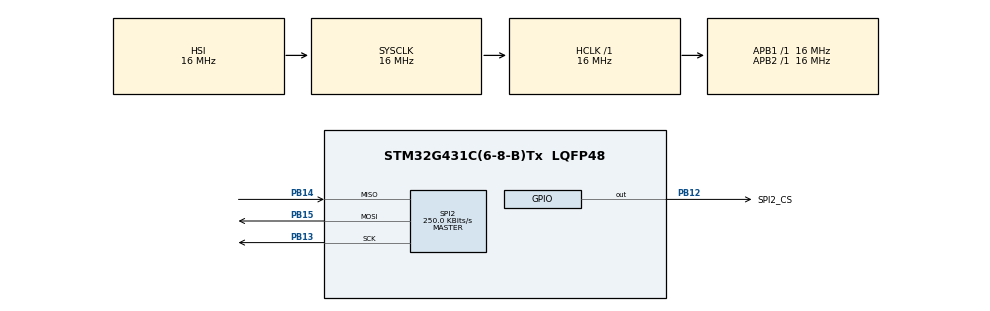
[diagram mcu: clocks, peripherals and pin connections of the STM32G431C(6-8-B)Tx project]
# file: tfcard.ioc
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Mcu.Family=STM32G4
Mcu.Name=STM32G431C(6-8-B)Tx
Mcu.Package=LQFP48
NVIC.PriorityGroup=NVIC_PRIORITYGROUP_4
PA13.Mode=Serial_Wire
PA13.Signal=SYS_JTMS-SWDIO
PA14.Mode=Serial_Wire
PA14.Signal=SYS_JTCK-SWCLK
PB12.GPIO_Label=SPI2_CS
PB12.Signal=GPIO_Output
PB13.Mode=Full_Duplex_Master
PB13.Signal=SPI2_SCK
PB14.Mode=Full_Duplex_Master
PB14.Signal=SPI2_MISO
PB15.Mode=Full_Duplex_Master
PB15.Signal=SPI2_MOSI
PC14-OSC32_IN.Mode=LSE-External-Oscillator
PC14-OSC32_IN.Signal=RCC_OSC32_IN
PC15-OSC32_OUT.Mode=LSE-External-Oscillator
PC15-OSC32_OUT.Signal=RCC_OSC32_OUT
PF0-OSC_IN.Mode=HSE-External-Oscillator
PF0-OSC_IN.Signal=RCC_OSC_IN
PF1-OSC_OUT.Mode=HSE-External-Oscillator
PF1-OSC_OUT.Signal=RCC_OSC_OUT
ProjectManager.HeapSize=0x800
ProjectManager.StackSize=0x1000
ProjectManager.TargetToolchain=Makefile
RCC.ADC12Freq_Value=16000000
RCC.AHBFreq_Value=16000000
RCC.APB1Freq_Value=16000000
RCC.APB1TimFreq_Value=16000000
RCC.APB2Freq_Value=16000000
RCC.APB2TimFreq_Value=16000000
RCC.CortexFreq_Value=16000000
RCC.EXTERNAL_CLOCK_VALUE=12288000
RCC.HCLKFreq_Value=16000000
RCC.HSE_VALUE=8000000
RCC.HSI48_VALUE=48000000
RCC.HSI_VALUE=16000000
RCC.SYSCLKFreq_VALUE=16000000
RCC.USBFreq_Value=64000000
RCC.VCOOutputFreq_Value=128000000
SPI2.BaudRatePrescaler=SPI_BAUDRATEPRESCALER_64
SPI2.CLKPhase=SPI_PHASE_2EDGE
SPI2.CLKPolarity=SPI_POLARITY_HIGH
SPI2.CRCCalculation=SPI_CRCCALCULATION_DISABLE
SPI2.CalculateBaudRate=250.0 KBits/s
SPI2.DataSize=SPI_DATASIZE_8BIT
SPI2.Direction=SPI_DIRECTION_2LINES
SPI2.Mode=SPI_MODE_MASTER
SPI2.VirtualType=VM_MASTER
VP_FATFS_VS_Generic.Mode=User_defined
VP_SYS_VS_DBSignals.Mode=DisableDeadBatterySignals
board=custom

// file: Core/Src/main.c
/* USER CODE BEGIN Header */
/**
 ******************************************************************************
 * @file           : main.c
 * @brief          : Main program body
 ******************************************************************************
 * @attention
 *
 * Copyright (c) 2023 STMicroelectronics.
 * All rights reserved.
 *
 * This software is licensed under terms that can be found in the LICENSE file
 * in the root directory of this software component.
 * If no LICENSE file comes with this software, it is provided AS-IS.
 *
 ******************************************************************************
 */
/* USER CODE END Header */
#include "main.h"
#include "app_fatfs.h"

SPI_HandleTypeDef hspi2;

void SystemClock_Config(void);
static void MX_GPIO_Init(void);
static void MX_SPI2_Init(void);

/* USER CODE BEGIN 0 */
FRESULT fres; // Result after operations
enum
{
  MOUNT_NO_INIT = 0,
  MOUNT_OK = 1,
} stat = MOUNT_NO_INIT;
/* USER CODE END 0 */

int main(void)
{

  /* MCU Configuration--------------------------------------------------------*/

  /* Reset of all peripherals, Initializes the Flash interface and the Systick. */
  HAL_Init();

  /* Configure the system clock */
  SystemClock_Config();

  /* Initialize all configured peripherals */
  MX_GPIO_Init();
  MX_SPI2_Init();
  if (MX_FATFS_Init() != APP_OK)
  {
    Error_Handler();
  }
  /* USER CODE BEGIN 2 */
  FATFS FatFs; // Fatfs handle
  FIL fil;     // File handle

  // Open the file system
  fres = f_mount(&FatFs, "", 1); // 1=mount now
  if (fres != FR_OK)
  {
    if (fres == FR_NO_FILESYSTEM)
    {
      BYTE work[_MAX_SS];
      fres = f_mkfs("", FM_ANY, 0, work, sizeof(work));
      if (fres == FR_OK)
      {
        fres = f_mount(0, "", 0); // unmount the default driver
        fres = f_mount(&FatFs, "", 1);
        if (fres == FR_OK)
        {
          stat = MOUNT_OK;
        }
      }
    }

    while (1)
      ;
  }
}
// else
// {
//   stat = MOUNT_OK;
// }

/* USER CODE END 2 */

/* Infinite loop */

void SystemClock_Config(void)
{
  RCC_OscInitTypeDef RCC_OscInitStruct = {0};
  RCC_ClkInitTypeDef RCC_ClkInitStruct = {0};

  /** Configure the main internal regulator output voltage
   */
  HAL_PWREx_ControlVoltageScaling(PWR_REGULATOR_VOLTAGE_SCALE1);

  /** Initializes the RCC Oscillators according to the specified parameters
   * in the RCC_OscInitTypeDef structure.
   */
  RCC_OscInitStruct.OscillatorType = RCC_OSCILLATORTYPE_HSI;
  RCC_OscInitStruct.HSIState = RCC_HSI_ON;
  RCC_OscInitStruct.HSICalibrationValue = RCC_HSICALIBRATION_DEFAULT;
  RCC_OscInitStruct.PLL.PLLState = RCC_PLL_NONE;
  if (HAL_RCC_OscConfig(&RCC_OscInitStruct) != HAL_OK)
  {
    Error_Handler();
  }

  /** Initializes the CPU, AHB and APB buses clocks
   */
  RCC_ClkInitStruct.ClockType = RCC_CLOCKTYPE_HCLK | RCC_CLOCKTYPE_SYSCLK | RCC_CLOCKTYPE_PCLK1 | RCC_CLOCKTYPE_PCLK2;
  RCC_ClkInitStruct.SYSCLKSource = RCC_SYSCLKSOURCE_HSI;
  RCC_ClkInitStruct.AHBCLKDivider = RCC_SYSCLK_DIV1;
  RCC_ClkInitStruct.APB1CLKDivider = RCC_HCLK_DIV1;
  RCC_ClkInitStruct.APB2CLKDivider = RCC_HCLK_DIV1;

  if (HAL_RCC_ClockConfig(&RCC_ClkInitStruct, FLASH_LATENCY_0) != HAL_OK)
  {
    Error_Handler();
  }
}

static void MX_SPI2_Init(void)
{

  /* SPI2 parameter configuration*/
  hspi2.Instance = SPI2;
  hspi2.Init.Mode = SPI_MODE_MASTER;
  hspi2.Init.Direction = SPI_DIRECTION_2LINES;
  hspi2.Init.DataSize = SPI_DATASIZE_8BIT;
  hspi2.Init.CLKPolarity = SPI_POLARITY_LOW;
  hspi2.Init.CLKPhase = SPI_PHASE_1EDGE;
  hspi2.Init.NSS = SPI_NSS_SOFT;
  hspi2.Init.BaudRatePrescaler = SPI_BAUDRATEPRESCALER_64;
  hspi2.Init.FirstBit = SPI_FIRSTBIT_MSB;
  hspi2.Init.TIMode = SPI_TIMODE_DISABLE;
  hspi2.Init.CRCCalculation = SPI_CRCCALCULATION_DISABLE;
  hspi2.Init.CRCPolynomial = 7;
  hspi2.Init.CRCLength = SPI_CRC_LENGTH_DATASIZE;
  hspi2.Init.NSSPMode = SPI_NSS_PULSE_ENABLE;
  if (HAL_SPI_Init(&hspi2) != HAL_OK)
  {
    Error_Handler();
  }
}

static void MX_GPIO_Init(void)
{
  GPIO_InitTypeDef GPIO_InitStruct = {0};

  /* GPIO Ports Clock Enable */
  __HAL_RCC_GPIOC_CLK_ENABLE();
  __HAL_RCC_GPIOF_CLK_ENABLE();
  __HAL_RCC_GPIOB_CLK_ENABLE();
  __HAL_RCC_GPIOA_CLK_ENABLE();

  /*Configure GPIO pin Output Level */
  HAL_GPIO_WritePin(SPI2_CS_GPIO_Port, SPI2_CS_Pin, GPIO_PIN_RESET);

  /*Configure GPIO pin : SPI2_CS_Pin */
  GPIO_InitStruct.Pin = SPI2_CS_Pin;
  GPIO_InitStruct.Mode = GPIO_MODE_OUTPUT_PP;
  GPIO_InitStruct.Pull = GPIO_NOPULL;
  GPIO_InitStruct.Speed = GPIO_SPEED_FREQ_LOW;
  HAL_GPIO_Init(SPI2_CS_GPIO_Port, &GPIO_InitStruct);
}

void Error_Handler(void)
{
  __disable_irq();
  while (1)
  {
  }
}
